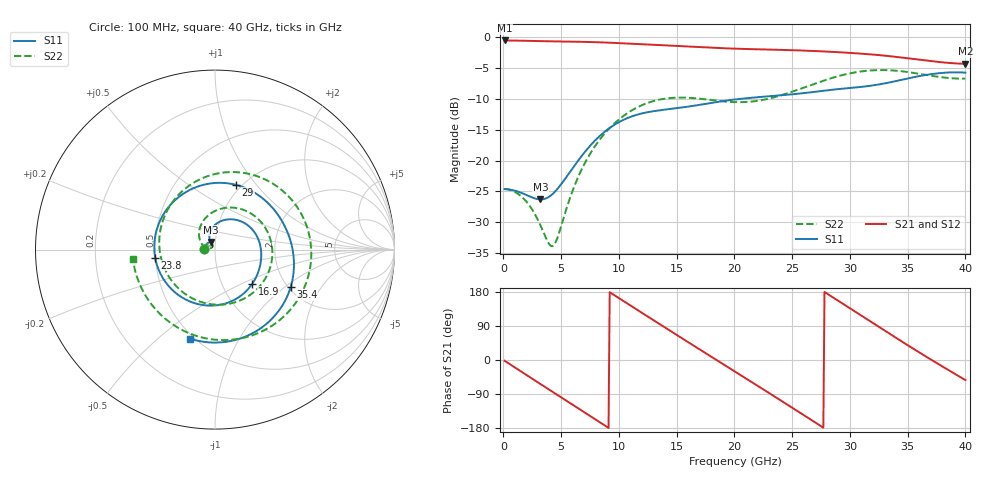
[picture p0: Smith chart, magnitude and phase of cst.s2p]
! D_s8_cap_10: L1 (ref L2 GND) → L3 (ref L4 PWR), capacitor GND–PWR at 10 mm
! stackup: 8-layer 1.6 mm FR-4 (generic)
! ports: 1, 2
! CST Studio Suite 2025.5 Release from 2025-05-30, time domain (FIT, hexahedral, PBA), 468864 mesh cells, 83 s
! mesh: {'lpw': 20, 'lpb': 20, 'minstep': 0.0, 'ratio': 20}; ports: port 1 (face); port 2 (face)
! interpolated from CST's 1001 samples to the case grid
# Hz S RI R 50
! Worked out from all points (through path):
!   400 points, 100 MHz to 40 GHz, reference 50 ohm
!   highest |S21| = -0.55 dB at 100 MHz (marker M1); lowest = -4.3 dB at 40 GHz (marker M2)
!   group delay of S21, straight-line fit = 53.8 ps
!   lowest |S11| = -26.3 dB at 3.2 GHz (marker M3), VSWR 1.10, Z = 47.5 + j4.01 ohm
!   |S11| at or under -10 dB: start of sweep to 20.56 GHz
!   |S22| runs from -33.9 to -5.3 dB; largest |S21 - S12| = 0.00048
!   S11 on the Smith chart (normalised r, x): 100 MHz: 0.89, +0.01; 16.9 GHz: 1.39, -0.57; 23.8 GHz: 0.50, -0.05; 29 GHz: 0.94, +0.79; 35.4 GHz: 2.06, -1.11; 40 GHz: 0.47, -0.64
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1e8  -0.0586 0.00286  0.9381 -0.0327  0.9382 -0.0327  -0.0588 0.00276
1.5e9  -0.0429 0.0344  0.81 -0.4651  0.81 -0.4652  -0.0404 0.0322
3.2e9  -0.0239 0.0421  0.4172 -0.8261  0.4172 -0.826  -0.0128 0.027
4.4e9  -0.0266 0.0484  0.0541 -0.9204  0.0542 -0.9205  -0.0175 0.0113
6.8e9  -0.0231 0.1073  -0.6331 -0.6607  -0.6332 -0.6607  -0.077 0.0379
8.3e9  0.0252 0.1549  -0.8689 -0.2599  -0.8688 -0.26  -0.0846 0.1192
9.8e9  0.1088 0.1674  -0.8727 0.1988  -0.8728 0.1988  -0.0156 0.2067
1.17e10  0.2103 0.1093  -0.5653 0.6712  -0.5652 0.6712  0.1602 0.2208
1.34e10  0.2538 0.0149  -0.1068 0.8555  -0.1069 0.8555  0.2954 0.0934
1.5e10  0.2533 -0.0793  0.3421 0.7752  0.3422 0.7752  0.3088 -0.0951
1.69e10  0.2082 -0.1898  0.7215 0.4101  0.7215 0.4101  0.1637 -0.2721
1.85e10  0.121 -0.2725  0.8158 -0.0143  0.8159 -0.0144  -0.0252 -0.304
2.01e10  -0.0194 -0.3121  0.6864 -0.4207  0.6863 -0.4206  -0.1933 -0.2257
2.2e10  -0.216 -0.2439  0.2999 -0.7373  0.3 -0.7374  -0.3017 -0.0418
2.38e10  -0.3333 -0.0449  -0.1715 -0.7696  -0.1716 -0.7695  -0.2904 0.1614
2.67e10  -0.1781 0.3104  -0.7215 -0.2767  -0.7217 -0.2767  -0.0414 0.4091
2.9e10  0.1173 0.3606  -0.6891 0.3069  -0.689 0.3067  0.291 0.3852
3.13e10  0.3339 0.2165  -0.2612 0.6816  -0.261 0.6818  0.525 0.0809
3.34e10  0.4282 0.0199  0.2409 0.6584  0.2406 0.6584  0.4502 -0.2958
3.54e10  0.4215 -0.2094  0.5685 0.3475  0.5687 0.3473  0.1343 -0.4965
3.76e10  0.2398 -0.4483  0.6209 -0.1047  0.621 -0.1043  -0.2515 -0.4056
4e10  -0.1417 -0.4954  0.3655 -0.4847  0.365 -0.4847  -0.4574 -0.0525
